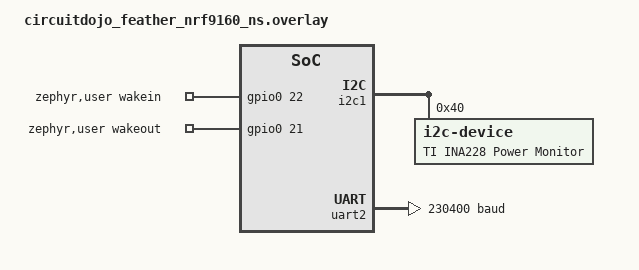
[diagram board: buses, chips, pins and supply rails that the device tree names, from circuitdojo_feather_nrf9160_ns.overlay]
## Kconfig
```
#
# Copyright (c) 2020 Nordic Semiconductor ASA
#
# SPDX-License-Identifier: LicenseRef-Nordic-5-Clause
#

menu "UART Cell Bridge Settings"

config UDP_PSM_ENABLE
	bool "Enable LTE Power Saving Mode (PSM)"
	default n
	select LTE_PSM_REQ

config UDP_EDRX_ENABLE
	bool "Enable LTE enhanced Discontinuous Reception (eDRX)"
	default n
	select LTE_EDRX_REQ

config UDP_RAI_ENABLE
	bool "Enable LTE Release Assistance Indication (RAI)"
	default n
	select LTE_RAI_REQ

if UDP_RAI_ENABLE

choice UDP_RAI_INDICATION
	prompt "RAI indication to set for UDP transmission"
	default UDP_RAI_LAST

config UDP_RAI_NO_DATA
	bool "Indicates that there will be no upcoming data transmission anymore"

config UDP_RAI_LAST
	bool "Indicates that the next transmission will be the last one for some time"

config UDP_RAI_ONGOING
	bool "Indicates that the client expects to use the socket more after the next transmission"

endchoice

endif # UDP_RAI_ENABLE

endmenu

module = UARTCELLBRIDGE
module-str = UART Cell Bridge
source "${ZEPHYR_BASE}/subsys/logging/Kconfig.template.log_config"

menu "Zephyr Kernel"
source "Kconfig.zephyr"
endmenu
```

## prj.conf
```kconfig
# General config
CONFIG_SERIAL=y
CONFIG_UART_ASYNC_API=y
CONFIG_GPIO=y
CONFIG_LOG=y # n disable logging, y allow logging

# Network
CONFIG_NETWORKING=y
CONFIG_NET_NATIVE=n
CONFIG_NET_SOCKETS=y
CONFIG_NET_SOCKETS_OFFLOAD=y

# LTE link control
CONFIG_LTE_LINK_CONTROL=y

# Modem library
CONFIG_NRF_MODEM_LIB=y
CONFIG_MODEM_INFO=y


# CONFIG_NEWLIB_LIBC=y
# CONFIG_NEWLIB_LIBC_FLOAT_PRINTF=y
# CONFIG_NEWLIB_LIBC_FLOAT_SCANF=y
# CONFIG_PRINTK=y

# Heap and stacks
# CONFIG_HEAP_MEM_POOL_SIZE=1024
# CONFIG_MAIN_STACK_SIZE=4096
# CONFIG_SYSTEM_WORKQUEUE_STACK_SIZE=2048

# LTE parameters
## Network Mode / LTE category
CONFIG_LTE_NETWORK_MODE_LTE_M_NBIOT=y
CONFIG_LTE_MODE_PREFERENCE_LTE_M_PLMN_PRIO=y

## PSM
CONFIG_UDP_PSM_ENABLE=n # y for sleep, n for non-sleep
CONFIG_LTE_PSM_REQ_RPTAU="00100001"
CONFIG_LTE_PSM_REQ_RAT="00000000"

## eDRX
CONFIG_UDP_EDRX_ENABLE=y
CONFIG_LTE_EDRX_REQ=y
CONFIG_LTE_EDRX_REQ_VALUE_LTE_M="0001"

## RAI
CONFIG_UDP_RAI_ENABLE=n

#Debug
# Debugging configuration
#CONFIG_THREAD_NAME=y
#CONFIG_THREAD_ANALYZER=y
#CONFIG_THREAD_ANALYZER_AUTO=y
#CONFIG_THREAD_ANALYZER_RUN_UNLOCKED=y
#CONFIG_THREAD_ANALYZER_USE_PRINTK=y

# Add asserts
#CONFIG_ASSERT=y
#CONFIG_ASSERT_VERBOSE=y
#CONFIG_ASSERT_NO_COND_INFO=n
#CONFIG_ASSERT_NO_MSG_INFO=n
#CONFIG_RESET_ON_FATAL_ERROR=n
#CONFIG_THREAD_NAME=y
```

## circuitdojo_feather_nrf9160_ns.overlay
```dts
&i2c1 {
    status = "okay";
    ina228: ina228@40 {
        compatible = "i2c-device";
        reg = <0x40>;
        label = "TI INA228 Power Monitor";
    };
};

&uart2 {
    status = "okay";
    current-speed = <230400>;
};

/ {
    zephyr,user {
        wakein-gpios = <&gpio0 22 GPIO_ACTIVE_HIGH>;
        wakeout-gpios = <&gpio0 21 GPIO_ACTIVE_HIGH>;
    };
};
```

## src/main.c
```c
#include <zephyr/kernel.h>
#include <ncs_version.h>
#include "serial_interface.h"
#include "modem.h"

// Force specific version of nRF Connect SDK
#if NCS_VERSION_NUMBER != 0x20600
#error Please build with nRF Connect SDK v2.6.0 to guarantee functionality
#endif

// Thread parameters
#define STACKSIZE 512
#define THREAD_UARTPROCESS_PRIORITY 6
#define THREAD_CELLRECV_PRIORITY 7

// Thread function protoypes
void thread_uartprocess (void);
void thread_cellrecv (void);

// Thread creation 
K_THREAD_DEFINE(thread_uartprocess_id, STACKSIZE, thread_uartprocess, NULL, NULL, NULL,
		THREAD_UARTPROCESS_PRIORITY, 0, 0);
K_THREAD_DEFINE(thread_cellrecv_id, STACKSIZE, thread_cellrecv, NULL, NULL, NULL,
		THREAD_CELLRECV_PRIORITY, 0, 0);

int main(void) {
    uart_init();
    modem_init();
    modem_network_connect();
}

void thread_uartprocess (void) {
    while (1) {
        k_sem_take(&uart_data_ready, K_FOREVER);
        uart_process_rx();
    }
}

void thread_cellrecv (void) {
    // Only try to recv if connection configured
    k_sem_take(&connection_configured, K_FOREVER);
    while (1) {
        modem_downlink_monitor();
    } 
}
```

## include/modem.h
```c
#ifndef MODEM_H
#define MODEM_H

#include <zephyr/kernel.h>
#include <stdio.h>
#include <modem/lte_lc.h>
#include <zephyr/net/socket.h>
#include <modem/nrf_modem_lib.h>
#include <nrf_modem_at.h>
#include "serial_interface.h"

extern struct k_sem lte_connected;
extern struct k_sem connection_configured;
extern struct k_sem modem_tx_buf_available;
extern struct k_sem modem_rx_buf_available;
extern volatile uint8_t modem_rx_buf[65535];
extern volatile uint8_t modem_tx_buf[65535];
extern volatile uint16_t modem_rx_len;
extern volatile uint16_t modem_tx_len;

int modem_send(bool control_message);
int modem_connect_ipv4(uint8_t *conn_details, size_t conn_details_len);
int modem_init(void);
int modem_network_connect(void);
int modem_downlink_monitor(void);

#endif
```

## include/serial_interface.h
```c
#ifndef SERIAL_INTERFACE_H
#define SERIAL_INTERFACE_H

#define UART_RX_TIMEOUT_US          2000

#define ZEPHYR_USER_NODE    DT_PATH(zephyr_user)

extern struct k_sem uart_data_ready;

#include "modem.h"
#include <zephyr/kernel.h>
#include <zephyr/drivers/uart.h>
#include <zephyr/logging/log.h>
#include <zephyr/drivers/gpio.h>

void uart_fwd_modem_buf(void);
void uart_init(void);
void uart_send_ack(void);
void uart_send_nack(void);
void uart_send_ready(void);
//void uart_peripheral_enable(void);
//void uart_peripheral_disable(void);
void uart_process_rx(void);
void uart_set_wake(bool state);

#endif
```

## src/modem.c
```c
#include "modem.h"

static volatile int stream_fd;
static volatile int control_fd;
static struct sockaddr_storage stream_host_addr;
static struct sockaddr_storage stream_local_addr;
static struct sockaddr_storage control_host_addr;
static struct sockaddr_storage control_local_addr;

K_SEM_DEFINE(lte_connected, 1, 1);
K_SEM_DEFINE(connection_configured, 0, 1);
K_SEM_DEFINE(modem_tx_buf_available, 1, 1);
K_SEM_DEFINE(modem_rx_buf_available, 1, 1);

volatile uint8_t modem_rx_buf[65535];
volatile uint8_t modem_tx_buf[65535];
volatile uint16_t modem_rx_len;
volatile uint16_t modem_tx_len;


LOG_MODULE_REGISTER(modem);

int modem_connect_ipv4(uint8_t *conn_details, size_t conn_details_len) {
    int err, status, i;
    uint16_t stream_port, control_port;
    char ip_addr[16];

    // Check for correct length & seperators
    // Expected format: 'E4NNN.NNN.NNN.NNN:SSSSS:CCCCC'
    if ((conn_details_len != 29) || conn_details[5] != '.' || 
            conn_details[9] != '.' || conn_details[13] != '.' || 
            conn_details[17] != ':' || conn_details[23] != ':') {
        LOG_ERR("Invalid connection setup request format");
        return -1;
    }

    // Acquire data from string
    //memcpy(ip_addr, &conn_details[2], 15);
	for (i = 0; i < 15; i++) {
		ip_addr[i] = conn_details[i +2];
	}
	ip_addr[15] = '\0';
	
    stream_port = strtoul(&conn_details[18], NULL, 10);
    control_port = strtoul(&conn_details[24], NULL, 10);

    LOG_INF("IP: %s", ip_addr);
    LOG_INF("Stream port: %u, Control port: %u", stream_port, control_port);

    // Stream address config
    struct sockaddr_in *server0 = ((struct sockaddr_in *)&stream_host_addr);
	server0->sin_family = AF_INET;
	server0->sin_port = htons(stream_port);
	status = inet_pton(AF_INET, ip_addr, &server0->sin_addr);
	if (status == 0) {
		LOG_ERR("src does not contain a character string representing a valid network address");
		return -1;
	} else if(status < 0) {
		LOG_ERR("inet_pton failed: %d %s\n", errno, strerror(errno));
		err = -errno;
		return -1;
	}

	// Stream local address config 
	struct sockaddr_in *server3 = ((struct sockaddr_in *)&stream_local_addr);
	server3->sin_family = AF_INET;
	server3->sin_port = htons(stream_port);
	server3->sin_addr.s_addr = INADDR_ANY;

    // Control send address config
    struct sockaddr_in *server1 = ((struct sockaddr_in *)&control_host_addr);
	server1->sin_family = AF_INET;
	server1->sin_port = htons(control_port);
	status = inet_pton(AF_INET, ip_addr, &server1->sin_addr);
	if (status == 0) {
		LOG_ERR("src does not contain a character string representing a valid network address");
		return -1;
	} else if(status < 0) {
		LOG_ERR("inet_pton failed: %d %s\n", errno, strerror(errno));
		err = -errno;
		return -1;
	}
	// Control local address config 
	struct sockaddr_in *server2 = ((struct sockaddr_in *)&control_local_addr);
	server2->sin_family = AF_INET;
	server2->sin_port = htons(control_port);
	server2->sin_addr.s_addr = INADDR_ANY;
    
    // Stream socket bind/connect
    stream_fd = socket(AF_INET, SOCK_DGRAM, IPPROTO_UDP);
	if (stream_fd < 0) {
		LOG_ERR("Failed to create stream UDP socket, error: %d", errno);
		err = -errno;
		return err;
	}
	err = bind(stream_fd, (struct sockaddr *)&stream_local_addr, sizeof(struct sockaddr_in));
	if (err < 0) {
		printk("Bind failed : %d %s\n", errno, strerror(errno));
		err = -errno;
		return err;
	}
	err = connect(stream_fd, (struct sockaddr *)&stream_host_addr, sizeof(struct sockaddr_in));
	if (err < 0) {
		LOG_ERR("Failed to connect stream socket, error: %d", errno);
		close(stream_fd);
		return err;
	}

	// Control socket bind/connect and listen
	control_fd = socket(AF_INET, SOCK_DGRAM, IPPROTO_UDP);
	if (control_fd < 0) {
		LOG_ERR("Failed to create control UDP socket, error: %d", errno);
		err = -errno;
		return err;
	}
	err = bind(control_fd, (struct sockaddr *)&control_local_addr, sizeof(struct sockaddr_in));
	if (err < 0) {
		printk("Bind failed : %d %s\n", errno, strerror(errno));
		err = -errno;
		return err;
	}
	err = connect(control_fd, (struct sockaddr *)&control_host_addr, sizeof(struct sockaddr_in));
	if (err < 0) {
		LOG_ERR("Failed to connect control socket, error: %d", errno);
		close(control_fd);
		return err;
	}

    k_sem_give(&connection_configured);
    return 0;
}



static void lte_handler(const struct lte_lc_evt *const evt) {
	switch (evt->type) {
	case LTE_LC_EVT_NW_REG_STATUS:
		if ((evt->nw_reg_status != LTE_LC_NW_REG_REGISTERED_HOME) &&
		    (evt->nw_reg_status != LTE_LC_NW_REG_REGISTERED_ROAMING)) {
			break;
		}

		LOG_INF("Network registration status: %s",
			evt->nw_reg_status == LTE_LC_NW_REG_REGISTERED_HOME ?
			"Connected - home" : "Connected - roaming");
		k_sem_take(&lte_connected, K_NO_WAIT);
		break;
	case LTE_LC_EVT_PSM_UPDATE:
		LOG_INF("PSM parameter update: TAU: %d s, Active time: %d s",
			evt->psm_cfg.tau, evt->psm_cfg.active_time);
		break;
    // case LTE_LC_EVT_EDRX_UPDATE:
    //     LOG_INF("eDRX parameter update: eDRX: %f, PTW: %f",
    //         evt->edrx_cfg.edrx, evt->edrx_cfg.ptw);
    //     break;
    case LTE_LC_EVT_EDRX_UPDATE:
         {
            const char *mode = "none";
            if (evt->edrx_cfg.mode == LTE_LC_LTE_MODE_LTEM) {
               mode = "LTE-M";
            } else if (evt->edrx_cfg.mode == LTE_LC_LTE_MODE_NBIOT) {
               mode = "NB-IoT";
            }
            // LOG_INF("eDRX cell update: %s, eDRX: %f, PTW: %f",
            //         mode, (double)evt->edrx_cfg.edrx, (double)evt->edrx_cfg.ptw);

            LOG_INF("eDRX cell update: %s, eDRX: %d.%03ds, PTW: %d.%03ds", mode,
                (int)evt->edrx_cfg.edrx, (int)((evt->edrx_cfg.edrx - (int)evt->edrx_cfg.edrx) * 1000),
                (int)evt->edrx_cfg.ptw, (int)((evt->edrx_cfg.ptw - (int)evt->edrx_cfg.ptw) * 1000));

            break;
         }
	case LTE_LC_EVT_RRC_UPDATE:
		LOG_INF("RRC mode: %s",
			evt->rrc_mode == LTE_LC_RRC_MODE_CONNECTED ?
			"Connected" : "Idle");
		break;
	case LTE_LC_EVT_CELL_UPDATE:
		LOG_INF("LTE cell changed: Cell ID: %d, Tracking area: %d",
		       evt->cell.id, evt->cell.tac);
		break;
	default:
		break;
	}
}

int modem_init(void) {
	int err;

	err = nrf_modem_lib_init();
	if (err) {
		LOG_ERR("Failed to initialize modem library, error: %d", err);
		return err;
	}
#if defined(CONFIG_UDP_RAI_ENABLE)
	/* Enable Access Stratum RAI support for nRF9160.
	 * Note: The 1.3.x modem firmware release is certified to be compliant with 3GPP Release 13.
	 * %REL14FEAT enables selected optional features from 3GPP Release 14. The 3GPP Release 14
	 * features are not GCF or PTCRB conformance certified by Nordic and must be certified
	 * by MNO before being used in commercial products.
	 * nRF9161 is certified to be compliant with 3GPP Release 14.
	 */

	err = nrf_modem_at_printf("AT%%REL14FEAT=0,1,0,0,0");
	if (err) {
		LOG_ERR("Failed to enable Access Stratum RAI support, error: %d", err);
		return err;
	}
#endif

	return 0;
}

int modem_network_connect(void) {
	int err;

	err = lte_lc_connect_async(lte_handler);
	if (err) {
		LOG_ERR("Failed to connect to LTE network, error: %d", err);
		return err;
	}

	return 0;
}

int modem_send(bool control_message) {
	int err;
	if (control_message) {
		err = send(control_fd, (uint8_t *) modem_tx_buf, modem_tx_len, 0);
	} else {
		err = send(stream_fd, (uint8_t *) modem_tx_buf, modem_tx_len, 0);
	}
	if (err < 0) {
		err = -errno;
		LOG_ERR("send() error: %i", err);
		k_sem_give(&modem_tx_buf_available);
		return err;
	}
	LOG_INF("Bytes TX: %u", modem_tx_len);
	k_sem_give(&modem_tx_buf_available);
	return 0;
}

int modem_downlink_monitor(void) {
    struct sockaddr_storage client_addr;
    int err;
    socklen_t addr_size;
    // sockaddr_in pointers for accessing IP addresses
    struct sockaddr_in *client_addr_in = ((struct sockaddr_in *)&client_addr);
    struct sockaddr_in *control_host_addr_in =
        ((struct sockaddr_in *)&control_host_addr);

    addr_size = sizeof(client_addr);

    k_sem_take(&modem_rx_buf_available, K_FOREVER);
	modem_rx_len = 0;
	// Reserve first 3 bits for type/size header
    modem_rx_len =
        recvfrom(control_fd, (uint8_t *)&modem_rx_buf[3], (sizeof(modem_rx_buf) - 3),
                 0, (struct sockaddr *)&client_addr, &addr_size);
    if (modem_rx_len < 0) {
        err = -errno;
        LOG_ERR("recvfrom() error: %i", err);
        return err;
    } else if (modem_rx_len > 0) {
        // Don't process if not expected server IP or not IPv4
        if (client_addr.ss_family == AF_INET) {
            if (client_addr_in->sin_addr.s_addr !=
                control_host_addr_in->sin_addr.s_addr) {
                LOG_ERR(
                    "Attempted connection from unexpected IP addr: "
                    "%u.%u.%u.%u",
                    client_addr_in->sin_addr.s4_addr[3],
                    client_addr_in->sin_addr.s4_addr[2],
                    client_addr_in->sin_addr.s4_addr[1],
                    client_addr_in->sin_addr.s4_addr[0]);
                LOG_ERR("Expected: %u.%u.%u.%u",
                        control_host_addr_in->sin_addr.s4_addr[3],
                        control_host_addr_in->sin_addr.s4_addr[2],
                        control_host_addr_in->sin_addr.s4_addr[1],
                        control_host_addr_in->sin_addr.s4_addr[0]);
                return -1;
            }
        } else {
            LOG_ERR(
                "IPv6 connection attempted with control receive socket, "
                "not "
                "supported");
            return -1;
        }
        LOG_INF("Bytes RX: %u", modem_rx_len);
		// Set header
		modem_rx_buf[0] = 'C';
		modem_rx_buf[1] = modem_rx_len >> 8;
		modem_rx_buf[2] = modem_rx_len & 0xFF;
		// Adjust for header so serial interface will send correct amount
		modem_rx_len += 3;
        // UART library will forward modem_rx_buf through once it receives
        // ready signal from this wake line assertion
        uart_set_wake(true);
    }
    return 0;
}
```

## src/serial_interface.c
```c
#include "serial_interface.h"

static const struct device *uart2_dev = DEVICE_DT_GET(DT_NODELABEL(uart2));

static const struct gpio_dt_spec dev_wake_in = GPIO_DT_SPEC_GET(ZEPHYR_USER_NODE, wakein_gpios);
static const struct gpio_dt_spec dev_wake_out = GPIO_DT_SPEC_GET(ZEPHYR_USER_NODE, wakeout_gpios);

LOG_MODULE_REGISTER(serial);

static struct gpio_callback wakein_cb_data;

static volatile uint8_t uart_rx_buf[65535];
static volatile uint16_t uart_rx_len;
static volatile uint16_t uart_rx_offset;

K_SEM_DEFINE(uart_data_ready, 0, 1);

void static wakein_cb(const struct device *dev, struct gpio_callback *cb,
		    uint32_t pins) {
    LOG_INF("Wake input signal received");

    //TODO: implement power management

    uart_send_ready();
}

void static uart_cb(const struct device *dev, struct uart_event *evt,
             void *user_data) {
    switch (evt->type) {
        case UART_TX_DONE:
            // LOG_INF("UART_TX_DONE");
            break;

        case UART_TX_ABORTED:
            LOG_ERR("UART_TX_ABORTED");
            break;

        case UART_RX_RDY:
            uart_rx_len = evt->data.rx.len;
            uart_rx_offset = evt->data.rx.offset;
            uart_rx_disable(uart2_dev);
			k_sem_give(&uart_data_ready);
            break;

        case UART_RX_BUF_REQUEST:
            // if(uart_rx_buf_rsp(uart2_dev, (uint8_t *)uart_rx_buf, sizeof(uart_rx_buf))) {
            //     LOG_ERR("Couldn't assign UART buffer");
            // }
            break;

        case UART_RX_BUF_RELEASED:
            break;

        case UART_RX_DISABLED:
            if (uart_rx_enable(uart2_dev, (uint8_t *)uart_rx_buf, sizeof(uart_rx_buf),
                               UART_RX_TIMEOUT_US)) {
                LOG_ERR("Couldn't assign UART buffer");
            }
            break;

        case UART_RX_STOPPED:
            LOG_INF("UART_RX_STOPPED, reason: %u", evt->data.rx_stop.reason);
            break;

        default:
            break;
    }
}

void uart_init(void) {
    // Configure wake signal output
    if (!gpio_is_ready_dt(&dev_wake_out)) {
         LOG_ERR("GPIO port %s is not ready!", dev_wake_out.port->name);
	    return;
    }
    gpio_pin_configure_dt(&dev_wake_out, GPIO_OUTPUT_LOW);
    // Configure wake signal input
    if (!gpio_is_ready_dt(&dev_wake_in)) {
         LOG_ERR("GPIO port %s is not ready!", dev_wake_in.port->name);
	    return;
    }
    if (gpio_pin_interrupt_configure_dt(&dev_wake_in, GPIO_INT_EDGE_RISING)) {
        LOG_ERR("Failed to configure interrupt on %s pin %d\n",
			dev_wake_in.port->name, dev_wake_in.pin);
		return;
    }
    gpio_init_callback(&wakein_cb_data, wakein_cb, BIT(dev_wake_in.pin));
	gpio_add_callback(dev_wake_in.port, &wakein_cb_data);

    if (!device_is_ready(uart2_dev)) {
        LOG_ERR("UART device not found!");
        return;
    }
    if (uart_callback_set(uart2_dev, uart_cb, NULL)) {
        LOG_ERR("Couldn't set UART callback function");
        return;
    }
    if (uart_rx_enable(uart2_dev, (uint8_t *)uart_rx_buf, sizeof(uart_rx_buf),
                       UART_RX_TIMEOUT_US)) {
        LOG_ERR("Couldn't assign UART buffer");
        return;
    }
    LOG_INF("UART init success");
}

void uart_send_ack(void) {
    static const uint8_t tx_char = 'A';
    if (uart_tx(uart2_dev, &tx_char, sizeof(tx_char), SYS_FOREVER_US)) {
        LOG_ERR("Couldn't send ACK");
    }
}

void uart_send_nack(void) {
    static const uint8_t tx_char = 'N';
    if (uart_tx(uart2_dev, &tx_char, sizeof(tx_char), SYS_FOREVER_US)) {
        LOG_ERR("Couldn't send NACK");
    }
}

void uart_send_ready(void) {
    static const uint8_t tx_char = 'R';
    if (uart_tx(uart2_dev, &tx_char, sizeof(tx_char), SYS_FOREVER_US)) {
        LOG_ERR("Couldn't send Ready");
    }
}

void uart_fwd_modem_buf(void) {
    if (uart_tx(uart2_dev, (uint8_t *) modem_rx_buf, modem_rx_len, SYS_FOREVER_US)) {
        LOG_ERR("Couldn't forward modem rx buf");
    }
    LOG_INF("Bytes TX: %u", modem_rx_len);
}

void uart_set_wake(bool state) {
    if (state) {
        LOG_INF("Set wake output high");
        gpio_pin_set_dt(&dev_wake_out, 1);
    } else {
        LOG_INF("Set wake output low");
        gpio_pin_set_dt(&dev_wake_out, 0);
    }
}

void uart_process_rx(void) {
    LOG_INF("current offset %d, current length %d", uart_rx_offset, uart_rx_len);
    // return;
    uint16_t payload_len_specd;
    uint8_t connection_info[29];
    if (uart_rx_len >= 1) {
        switch (uart_rx_buf[(uart_rx_offset + 0) % sizeof(uart_rx_buf)]) {
            case 'E':
                if (uart_rx_buf[(uart_rx_offset + 1) % sizeof(uart_rx_buf)] == '4') {
                    LOG_INF("Received IPv4 connection setup request");
                    for (size_t i = 0; i < 29; i++) {
                        connection_info[i] = uart_rx_buf[(uart_rx_offset + i) % sizeof(uart_rx_buf)];
                    }
                    if (modem_connect_ipv4(connection_info, sizeof(connection_info))) {
                        uart_send_nack();
                    } else {
                        uart_send_ack();
                    }
                } else if (uart_rx_buf[(uart_rx_offset + 1) % sizeof(uart_rx_buf)] == '6') {
                    LOG_INF("Received IPv6 connection setup request");
                    LOG_ERR("IPv6 connection support still to be implemented");

                    uart_send_nack();
                } else {
                    LOG_ERR("Unknown connection setup request");
                    uart_send_nack();
                }
                break;

            case 'C':
                LOG_INF("Bytes RX: %u (CTL)", uart_rx_len);
                if (k_sem_count_get(&connection_configured)) {
                    LOG_ERR("No connection configured");
                    uart_send_nack();
                    break;
                }
                payload_len_specd =  (uart_rx_buf[(uart_rx_offset + 1) % sizeof(uart_rx_buf)] << 8) | uart_rx_buf[(uart_rx_offset + 2) % sizeof(uart_rx_buf)];
                if (payload_len_specd != uart_rx_len - 3) {
                    LOG_ERR("Message specified length %u doesn't match rx'd %u", payload_len_specd, uart_rx_len - 3);
                    uart_send_nack();
                    break;
                }
                if (k_sem_take(&modem_tx_buf_available, K_SECONDS(10))) {
                    LOG_ERR("Failed to access modem tx buffer");
                    uart_send_nack();
                    break;
                }
                // Trim message type and length (first 3 bytes)
                for (size_t i = 0; i < (uart_rx_len - 3); i++) {
                    modem_tx_buf[i] = uart_rx_buf[(uart_rx_offset + i + 3) % sizeof(uart_rx_buf)];
                }
                modem_tx_len = uart_rx_len - 3;
                uart_send_ack();
                modem_send(true);
                break;

            case 'S':
                LOG_INF("Bytes RX: %u (STR)", uart_rx_len);
                if (k_sem_count_get(&connection_configured)) {
                    LOG_ERR("No connection configured");
                    uart_send_nack();
                    break;
                }
                payload_len_specd =  (uart_rx_buf[(uart_rx_offset + 1) % sizeof(uart_rx_buf)] << 8) | uart_rx_buf[(uart_rx_offset + 2) % sizeof(uart_rx_buf)];
                if (payload_len_specd != uart_rx_len - 3) {
                    LOG_ERR("Message specified length %u doesn't match rx'd %u", payload_len_specd, uart_rx_len - 3);
                    uart_send_nack();
                    break;
                }
                if (k_sem_take(&modem_tx_buf_available, K_SECONDS(10))) {
                    LOG_ERR("Failed to access modem tx buffer");
                    uart_send_nack();
                    break;
                }
                // Trim message type and length (first 3 bytes)
                for (size_t i = 0; i < (uart_rx_len - 3); i++) {
                    modem_tx_buf[i] = uart_rx_buf[(uart_rx_offset + i + 3) % sizeof(uart_rx_buf)];
                }
                modem_tx_len = uart_rx_len - 3;
                uart_send_ack();
                modem_send(false);
                break;
            case 'R':
                if(modem_rx_len <= 0) {
                    LOG_ERR("Received unexpected ready signal, nothing to forward");
                } else {
                    LOG_INF("Received ready signal");
                    uart_set_wake(0);
                    uart_fwd_modem_buf();
                    k_sem_give(&modem_rx_buf_available);
                }
                break;

            case '?':
                LOG_INF("Received network status query");
                if (k_sem_count_get(&lte_connected) == 0) {
                    uart_send_ack();
                } else {
                    uart_send_nack();
                }
                break;

            default:
                LOG_ERR("Received unknown message type");
                uart_send_nack();
                break;
        }
    }
    // Re enable UART after processing packet
    // err = uart_rx_enable(uart2_dev, (uint8_t *)uart_rx_buf, sizeof(uart_rx_buf),
    //                    UART_RX_TIMEOUT_US);
    // if (err) {
    //     LOG_ERR("Couldn't assign UART buffer %i", err);
    // }
}
```
